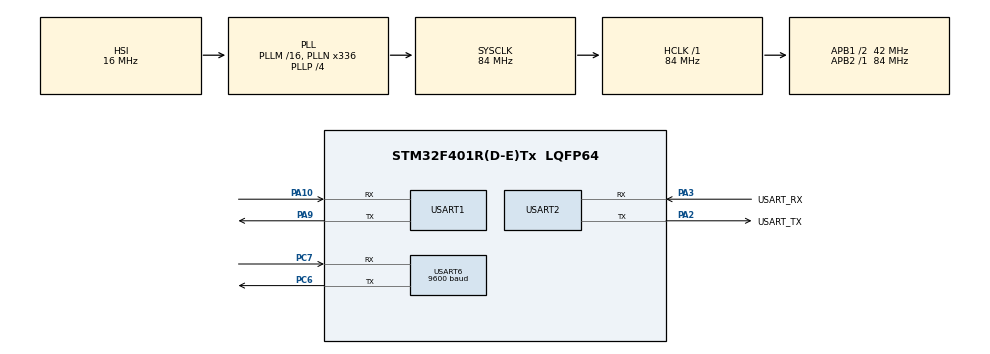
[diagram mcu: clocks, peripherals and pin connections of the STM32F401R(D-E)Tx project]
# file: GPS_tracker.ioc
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Mcu.Family=STM32F4
Mcu.Name=STM32F401R(D-E)Tx
Mcu.Package=LQFP64
NVIC.PriorityGroup=NVIC_PRIORITYGROUP_0
NVIC.USART2_IRQn=true\:0\:0\:false\:false\:true\:true\:true
NVIC.USART6_IRQn=true\:0\:0\:false\:false\:true\:true\:true
PA10.Mode=Asynchronous
PA10.Signal=USART1_RX
PA13.GPIO_Label=TMS
PA13.Mode=Serial_Wire
PA13.Signal=SYS_JTMS-SWDIO
PA14.GPIO_Label=TCK
PA14.Mode=Serial_Wire
PA14.Signal=SYS_JTCK-SWCLK
PA2.GPIO_Label=USART_TX
PA2.GPIO_Mode=GPIO_MODE_AF_PP
PA2.GPIO_PuPd=GPIO_NOPULL
PA2.GPIO_Speed=GPIO_SPEED_FREQ_LOW
PA2.Mode=Asynchronous
PA2.Signal=USART2_TX
PA3.GPIO_Label=USART_RX
PA3.GPIO_Mode=GPIO_MODE_AF_PP
PA3.GPIO_PuPd=GPIO_NOPULL
PA3.GPIO_Speed=GPIO_SPEED_FREQ_LOW
PA3.Mode=Asynchronous
PA3.Signal=USART2_RX
PA9.Mode=Asynchronous
PA9.Signal=USART1_TX
PB3.GPIO_Label=SWO
PB3.Signal=SYS_JTDO-SWO
PC6.Mode=Asynchronous
PC6.Signal=USART6_TX
PC7.Mode=Asynchronous
PC7.Signal=USART6_RX
PH0\ -\ OSC_IN.Mode=HSE-External-Oscillator
PH0\ -\ OSC_IN.Signal=RCC_OSC_IN
PH1\ -\ OSC_OUT.Mode=HSE-External-Oscillator
PH1\ -\ OSC_OUT.Signal=RCC_OSC_OUT
ProjectManager.HeapSize=0x200
ProjectManager.StackSize=0x400
ProjectManager.TargetToolchain=STM32CubeIDE
RCC.48MHZClocksFreq_Value=48000000
RCC.AHBFreq_Value=84000000
RCC.APB1CLKDivider=RCC_HCLK_DIV2
RCC.APB1Freq_Value=42000000
RCC.APB1TimFreq_Value=84000000
RCC.APB2Freq_Value=84000000
RCC.APB2TimFreq_Value=84000000
RCC.CortexFreq_Value=84000000
RCC.HCLKFreq_Value=84000000
RCC.HSE_VALUE=8000000
RCC.HSI_VALUE=16000000
RCC.LSE_VALUE=32768
RCC.PLLN=336
RCC.PLLP=RCC_PLLP_DIV4
RCC.PLLQ=7
RCC.SYSCLKFreq_VALUE=84000000
RCC.SYSCLKSource=RCC_SYSCLKSOURCE_PLLCLK
RCC.VCOOutputFreq_Value=336000000
USART1.VirtualMode=VM_ASYNC
USART2.VirtualMode=VM_ASYNC
USART6.BaudRate=9600
USART6.VirtualMode=VM_ASYNC
board=NUCLEO-F401RE

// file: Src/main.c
#include "main.h"

/* USER CODE BEGIN Includes */
#include "gps_neo6.h"
#include "gsm_sim900.h"
#include "stdio.h"
/* USER CODE END Includes */

/* USER CODE BEGIN PD */
#define MESSAGE_ARRAY_SIZE 255
#define MESSAGE_SIZE 16
#define TIME_CYCLE_S 1000
/* USER CODE END PD */

UART_HandleTypeDef huart1;
UART_HandleTypeDef huart2;
UART_HandleTypeDef huart6;

/* USER CODE BEGIN PV */
uint8_t Message[MESSAGE_SIZE];
uint8_t MessageLength = 0;
uint8_t OldMessageLength = 0;
uint8_t MessageArray[MESSAGE_ARRAY_SIZE];
uint8_t DiagnosticMessage[128];
/* USER CODE END PV */

void SystemClock_Config(void);
static void MX_GPIO_Init(void);
static void MX_USART2_UART_Init(void);
static void MX_USART6_UART_Init(void);
static void MX_USART1_UART_Init(void);
/* USER CODE BEGIN PFP */
uint8_t AppendToArray(uint8_t startIt, uint8_t endIt);
/* USER CODE END PFP */

int main(void)
{

  /* MCU Configuration--------------------------------------------------------*/

  /* Reset of all peripherals, Initializes the Flash interface and the Systick. */
  HAL_Init();

  /* Configure the system clock */
  SystemClock_Config();

  /* Initialize all configured peripherals */
  MX_GPIO_Init();
  MX_USART2_UART_Init();
  MX_USART6_UART_Init();
  MX_USART1_UART_Init();
  /* USER CODE BEGIN 2 */
  NEO6_Init(&GpsState, &huart6);
  uint32_t Timer = HAL_GetTick();
  /* USER CODE END 2 */

  /* Infinite loop */
  /* USER CODE BEGIN WHILE */
  while (1)
  {
	  NEO6_Task(&GpsState);

	  if((HAL_GetTick() - Timer) > TIME_CYCLE_S)
	  {
		  if(NEO6_IsFix(&GpsState))
		  {
			  MessageLength = sprintf((char*)Message, "%02d:%02d:%02d\n\r", GpsState.Hour, GpsState.Minute, GpsState.Second);
			  OldMessageLength += AppendToArray(0, MessageLength);
			  MessageLength = sprintf((char*)Message, "%02d.%02d.20%02d\n\r", GpsState.Day, GpsState.Month, GpsState.Year);
			  OldMessageLength += AppendToArray(OldMessageLength, MessageLength);
			  MessageLength = sprintf((char*)Message, "%.2f %c\n\r", GpsState.Latitude, GpsState.LatitudeDirection);
			  OldMessageLength += AppendToArray(OldMessageLength, MessageLength);
			  MessageLength = sprintf((char*)Message, "%.2f %c\n\r", GpsState.Longitude, GpsState.LongitudeDirection);
			  OldMessageLength += AppendToArray(OldMessageLength, MessageLength);
			  MessageLength = sprintf((char*)Message, "%.2f\n\r", GpsState.Altitude);
			  OldMessageLength += AppendToArray(OldMessageLength, MessageLength);
			  MessageLength = sprintf((char*)Message, "%.2f %.2f\n\r", GpsState.SpeedKnots, GpsState.SpeedKilometers);
			  OldMessageLength += AppendToArray(OldMessageLength, MessageLength);
			  MessageLength = sprintf((char*)Message, "%d\n\r", GpsState.SatelitesNumber);
			  OldMessageLength += AppendToArray(OldMessageLength, MessageLength);
			  MessageLength = sprintf((char*)Message, "%.2f\n\r", GpsState.Dop);
			  OldMessageLength += AppendToArray(OldMessageLength, MessageLength);
			  MessageLength = sprintf((char*)Message, "%.2f\n\r", GpsState.Hdop);
			  OldMessageLength += AppendToArray(OldMessageLength, MessageLength);
			  MessageLength = sprintf((char*)Message, "%.2f\n\r", GpsState.Vdop);
			  OldMessageLength += AppendToArray(OldMessageLength, MessageLength);

			  sendDataGsm(MessageArray, MESSAGE_ARRAY_SIZE);
		  }
		  else
		  {
			  MessageLength = sprintf((char*)DiagnosticMessage, "Was detected problem with GPS module\n\r");
			  HAL_UART_Transmit(&huart2, DiagnosticMessage, MessageLength, 1000);
		  }

		  Timer = HAL_GetTick();
	  }
    /* USER CODE END WHILE */

  }
}

void SystemClock_Config(void)
{
  RCC_OscInitTypeDef RCC_OscInitStruct = {0};
  RCC_ClkInitTypeDef RCC_ClkInitStruct = {0};

  /** Configure the main internal regulator output voltage
  */
  __HAL_RCC_PWR_CLK_ENABLE();
  __HAL_PWR_VOLTAGESCALING_CONFIG(PWR_REGULATOR_VOLTAGE_SCALE2);
  /** Initializes the RCC Oscillators according to the specified parameters
  * in the RCC_OscInitTypeDef structure.
  */
  RCC_OscInitStruct.OscillatorType = RCC_OSCILLATORTYPE_HSI;
  RCC_OscInitStruct.HSIState = RCC_HSI_ON;
  RCC_OscInitStruct.HSICalibrationValue = RCC_HSICALIBRATION_DEFAULT;
  RCC_OscInitStruct.PLL.PLLState = RCC_PLL_ON;
  RCC_OscInitStruct.PLL.PLLSource = RCC_PLLSOURCE_HSI;
  RCC_OscInitStruct.PLL.PLLM = 16;
  RCC_OscInitStruct.PLL.PLLN = 336;
  RCC_OscInitStruct.PLL.PLLP = RCC_PLLP_DIV4;
  RCC_OscInitStruct.PLL.PLLQ = 7;
  if (HAL_RCC_OscConfig(&RCC_OscInitStruct) != HAL_OK)
  {
    Error_Handler();
  }
  /** Initializes the CPU, AHB and APB buses clocks
  */
  RCC_ClkInitStruct.ClockType = RCC_CLOCKTYPE_HCLK|RCC_CLOCKTYPE_SYSCLK
                              |RCC_CLOCKTYPE_PCLK1|RCC_CLOCKTYPE_PCLK2;
  RCC_ClkInitStruct.SYSCLKSource = RCC_SYSCLKSOURCE_PLLCLK;
  RCC_ClkInitStruct.AHBCLKDivider = RCC_SYSCLK_DIV1;
  RCC_ClkInitStruct.APB1CLKDivider = RCC_HCLK_DIV2;
  RCC_ClkInitStruct.APB2CLKDivider = RCC_HCLK_DIV1;

  if (HAL_RCC_ClockConfig(&RCC_ClkInitStruct, FLASH_LATENCY_2) != HAL_OK)
  {
    Error_Handler();
  }
}

static void MX_USART1_UART_Init(void)
{

  huart1.Instance = USART1;
  huart1.Init.BaudRate = 115200;
  huart1.Init.WordLength = UART_WORDLENGTH_8B;
  huart1.Init.StopBits = UART_STOPBITS_1;
  huart1.Init.Parity = UART_PARITY_NONE;
  huart1.Init.Mode = UART_MODE_TX_RX;
  huart1.Init.HwFlowCtl = UART_HWCONTROL_NONE;
  huart1.Init.OverSampling = UART_OVERSAMPLING_16;
  if (HAL_UART_Init(&huart1) != HAL_OK)
  {
    Error_Handler();
  }

}

static void MX_USART2_UART_Init(void)
{

  huart2.Instance = USART2;
  huart2.Init.BaudRate = 115200;
  huart2.Init.WordLength = UART_WORDLENGTH_8B;
  huart2.Init.StopBits = UART_STOPBITS_1;
  huart2.Init.Parity = UART_PARITY_NONE;
  huart2.Init.Mode = UART_MODE_TX_RX;
  huart2.Init.HwFlowCtl = UART_HWCONTROL_NONE;
  huart2.Init.OverSampling = UART_OVERSAMPLING_16;
  if (HAL_UART_Init(&huart2) != HAL_OK)
  {
    Error_Handler();
  }

}

static void MX_USART6_UART_Init(void)
{

  huart6.Instance = USART6;
  huart6.Init.BaudRate = 9600;
  huart6.Init.WordLength = UART_WORDLENGTH_8B;
  huart6.Init.StopBits = UART_STOPBITS_1;
  huart6.Init.Parity = UART_PARITY_NONE;
  huart6.Init.Mode = UART_MODE_TX_RX;
  huart6.Init.HwFlowCtl = UART_HWCONTROL_NONE;
  huart6.Init.OverSampling = UART_OVERSAMPLING_16;
  if (HAL_UART_Init(&huart6) != HAL_OK)
  {
    Error_Handler();
  }

}

static void MX_GPIO_Init(void)
{

  /* GPIO Ports Clock Enable */
  __HAL_RCC_GPIOH_CLK_ENABLE();
  __HAL_RCC_GPIOA_CLK_ENABLE();
  __HAL_RCC_GPIOC_CLK_ENABLE();
  __HAL_RCC_GPIOB_CLK_ENABLE();

}

/* USER CODE BEGIN 4 */
void HAL_UART_RxCpltCallback(UART_HandleTypeDef *huart)
{
	if(huart == GpsState.neo6_huart)
	{
		NEO6_ReceiveUartChar(&GpsState);
	}
}

uint8_t AppendToArray(uint8_t startIt, uint8_t endIt) {
	for(uint8_t i = startIt; i < endIt; i++) {
		MessageArray[i] = Message[i];
	}
	return endIt;
}
/* USER CODE END 4 */

void Error_Handler(void)
{
}

/************************ (C) COPYRIGHT STMicroelectronics *****END OF FILE****/
